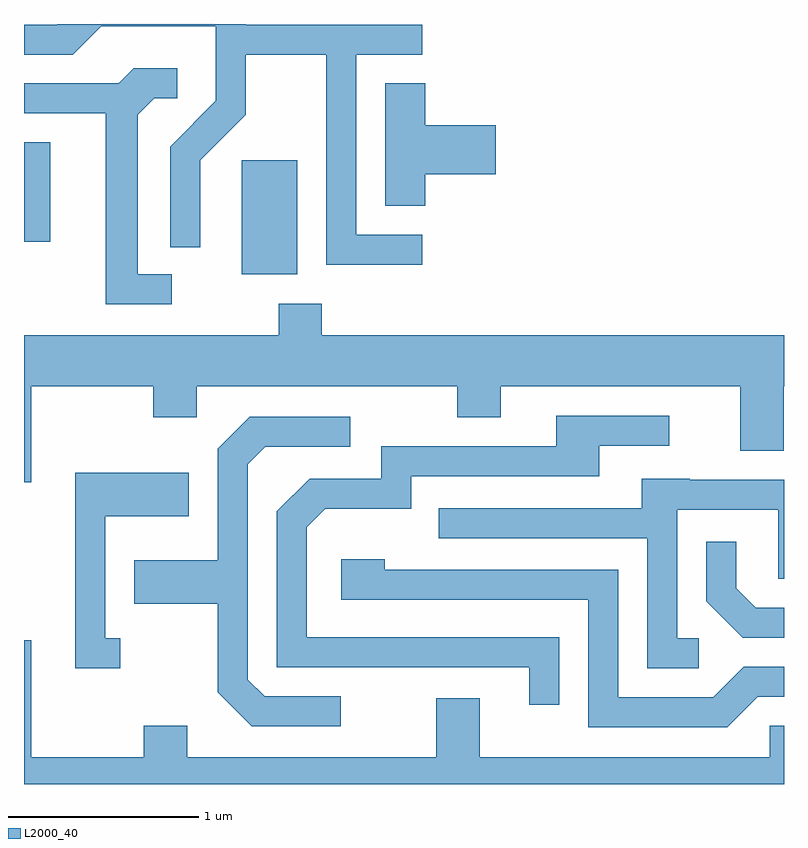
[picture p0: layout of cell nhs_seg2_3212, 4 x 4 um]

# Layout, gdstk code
import gdstk
lib = gdstk.Library(unit=1e-6, precision=1e-09)
def R(c, l, rs):  # rectangles x0, y0, x1, y1
    for r in rs: c.add(gdstk.rectangle(r[:2], r[2:], *l))
def P(c, l, *ps):  # polygons
    for p in ps: c.add(gdstk.Polygon(p, *l))
L2000_40 = (2000, 40)

nhs_seg2_3212 = lib.new_cell('nhs_seg2_3212')
R(nhs_seg2_3212, L2000_40, [(280.756,1024.486,281.049,1025.084), (279.611,1024.656,279.749,1025.179)])
P(nhs_seg2_3212, L2000_40, [(281.708,1024.694),(281.359,1024.694),(281.359,1025.641),(281.708,1025.641),(281.708,1025.799),(280.779,1025.799),(280.779,1025.802),(279.787,1025.802),(279.784,1025.799),(279.611,1025.799),(279.611,1025.641),(279.867,1025.641),(280.017,1025.791),(280.621,1025.791),(280.621,1025.397),(280.381,1025.157),(280.381,1024.628),(280.539,1024.628),(280.539,1025.084),(280.779,1025.324),(280.779,1025.641),(281.201,1025.641),(281.201,1024.536),(281.708,1024.536)],
  [(280.388,1024.484),(280.209,1024.484),(280.209,1025.324),(280.297,1025.411),(280.418,1025.411),(280.418,1025.569),(280.189,1025.569),(280.109,1025.489),(279.611,1025.489),(279.611,1025.331),(280.041,1025.331),(280.041,1024.326),(280.388,1024.326)],
  [(281.724,1025.011),(282.094,1025.011),(282.094,1025.269),(281.724,1025.269),(281.724,1025.489),(281.511,1025.489),(281.511,1024.846),(281.724,1024.846)],
  [(279.649,1023.896),(280.291,1023.896),(280.291,1023.731),(280.519,1023.731),(280.519,1023.896),(281.891,1023.896),(281.891,1023.731),(282.119,1023.731),(282.119,1023.896),(283.381,1023.896),(283.381,1023.556),(283.609,1023.556),(283.609,1023.896),(283.611,1023.896),(283.611,1024.164),(281.179,1024.164),(281.179,1024.329),(280.951,1024.329),(280.951,1024.164),(279.611,1024.164),(279.611,1023.391),(279.649,1023.391)],
  [(282.429,1022.574),(281.099,1022.574),(281.099,1023.154),(281.197,1023.251),(281.649,1023.251),(281.649,1023.421),(282.639,1023.421),(282.639,1023.581),(283.008,1023.581),(283.008,1023.739),(282.411,1023.739),(282.411,1023.579),(281.491,1023.579),(281.491,1023.409),(281.114,1023.409),(280.941,1023.237),(280.941,1022.416),(282.271,1022.416),(282.271,1022.218),(282.429,1022.218)],
  [(281.278,1022.264),(280.877,1022.264),(280.789,1022.352),(280.789,1023.484),(280.882,1023.576),(281.328,1023.576),(281.328,1023.734),(280.799,1023.734),(280.631,1023.567),(280.631,1022.979),(280.191,1022.979),(280.191,1022.751),(280.631,1022.751),(280.631,1022.284),(280.809,1022.106),(281.278,1022.106)],
  [(280.118,1022.569),(280.039,1022.569),(280.039,1023.211),(280.479,1023.211),(280.479,1023.439),(279.881,1023.439),(279.881,1022.411),(280.118,1022.411)],
  [(283.163,1022.569),(283.049,1022.569),(283.049,1023.246),(283.581,1023.246),(283.581,1022.881),(283.611,1022.881),(283.611,1023.404),(283.115,1023.404),(283.115,1023.409),(282.861,1023.409),(282.861,1023.254),(281.793,1023.254),(281.793,1023.096),(282.891,1023.096),(282.891,1022.411),(283.163,1022.411)],
  [(283.611,1022.729),(283.462,1022.729),(283.359,1022.832),(283.359,1023.078),(283.201,1023.078),(283.201,1022.764),(283.394,1022.571),(283.611,1022.571)],
  [(283.472,1022.261),(283.611,1022.261),(283.611,1022.419),(283.399,1022.419),(283.239,1022.259),(282.739,1022.259),(282.739,1022.929),(281.509,1022.929),(281.509,1022.984),(281.281,1022.984),(281.281,1022.771),(282.581,1022.771),(282.581,1022.101),(283.312,1022.101)],
  [(283.611,1022.109),(283.536,1022.109),(283.536,1021.944),(282.009,1021.944),(282.009,1022.254),(281.781,1022.254),(281.781,1021.944),(280.469,1021.944),(280.469,1022.109),(280.241,1022.109),(280.241,1021.944),(279.649,1021.944),(279.649,1022.559),(279.611,1022.559),(279.611,1021.802),(283.611,1021.802)])

lib.write_gds('nhs_seg2_3212.gds')
